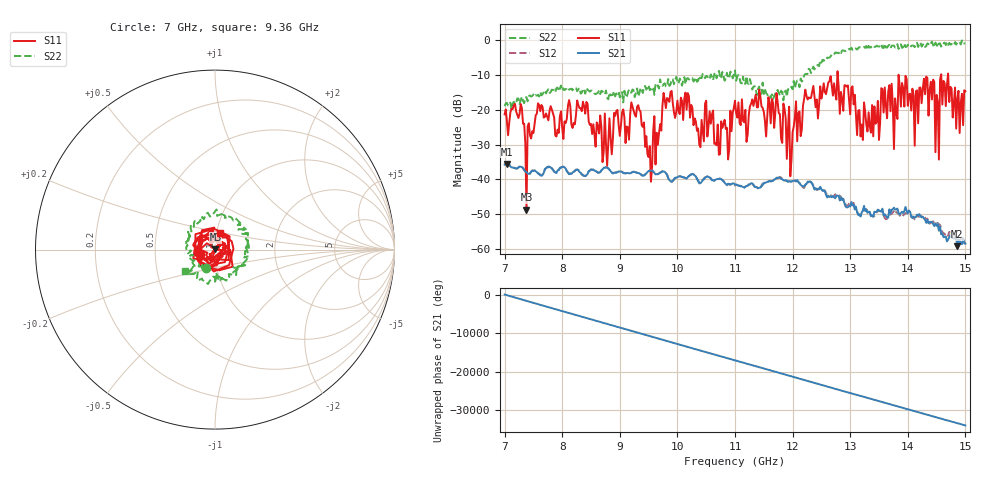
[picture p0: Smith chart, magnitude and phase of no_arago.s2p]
! 4/11/2025 3:37:11 PM
! C:\ANRITSUVNA\LELEC2350\LAB1_2025\GROUP1_NO_ARGO.S2P
! CHANNEL.1
! TR.MEASUREMENT
! CORRECTED.DATA
! RF.CORRECTION: FULL.TWO.PORT.CAL.PORT.1.2
! AVERAGING.OFF
! IF.BANDWIDTH: 300HZ
! SWEEPTYPE:  FREQ.SWEEP(Linear)
! Reference Plane Port Info
! PORT:  PORT1  PORT2
! DISTANCE:  0  m  0  m
! TIME:  0  s  0  s
! PHASE.OFFSET:  0 °  0 °
! LOSS:  0  dB  0  dB
! REF.LOSS:  0  dB  0  dB
! REF.FREQ:  0  Hz  0  Hz
! Power Info
! POWER:  5  dBm  5  dBm
! EFF.POWER:  5  dBm  5  dBm
# GHZ S RI R 50.0
! FREQ.GHZ  S11RE  S11IM  S21RE  S21IM  S12RE  S12IM  S22RE  S22IM
!; PortSelection: Port_12
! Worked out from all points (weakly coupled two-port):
!   401 points, 7 GHz to 15 GHz, reference 50 ohm
!   highest |S21| = -35.60 dB at 7.04 GHz (marker M1); lowest = -59.2 dB at 14.86 GHz (marker M2)
!   lowest |S11| = -48.7 dB at 7.38 GHz (marker M3), VSWR 1.01, Z = 50.3 + j0.24 ohm
!   |S11| at or under -10 dB: start of sweep to 12.78 GHz; 12.79 GHz to 13.84 GHz (1.055 GHz wide, 7.92 % of centre); 13.84 GHz to 14.58 GHz (735.8 MHz wide, 5.18 % of centre) (the widest 3 of 5)
!   |S22| runs from -19.8 to 0.0 dB; largest |S21 - S12| = 0.00085
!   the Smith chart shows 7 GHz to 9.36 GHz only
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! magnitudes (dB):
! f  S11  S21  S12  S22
! 7 GHz  -21.3  -35.8  -35.8  -19.0
! 7.04 GHz  -23.3  -35.6  -35.7  -18.0
! 7.3 GHz  -19.5  -36.5  -36.3  -16.2
! 7.38 GHz  -48.7  -37.9  -37.8  -16.4
! 7.62 GHz  -20.4  -38.8  -38.7  -14.9
! 7.9 GHz  -27.7  -38.2  -38.0  -13.7
! 8.34 GHz  -20.4  -38.6  -38.6  -15.0
! 8.74 GHz  -21.0  -36.6  -36.6  -15.6
! 9.22 GHz  -19.0  -37.9  -37.8  -14.1
! 9.52 GHz  -30.4  -37.5  -37.5  -14.3
! 9.68 GHz  -26.9  -38.3  -38.3  -13.9
! 9.86 GHz  -17.7  -40.2  -40.2  -13.1
! 10.7 GHz  -24.2  -39.9  -39.8  -9.9
! 11 GHz  -17.4  -41.5  -41.8  -8.7
! 11.74 GHz  -17.7  -39.5  -39.7  -14.3
! 11.94 GHz  -19.1  -40.6  -40.6  -14.2
! 12.34 GHz  -14.8  -41.3  -41.2  -8.4
! 12.94 GHz  -13.3  -48.1  -47.7  -2.6
! 13.32 GHz  -20.7  -49.3  -49.6  -1.6
! 13.68 GHz  -12.9  -48.6  -50.3  -1.3
! 14.86 GHz  -16.9  -59.2  -57.5  -0.7
! 15 GHz  -14.6  -58.5  -58.4  -0.8
